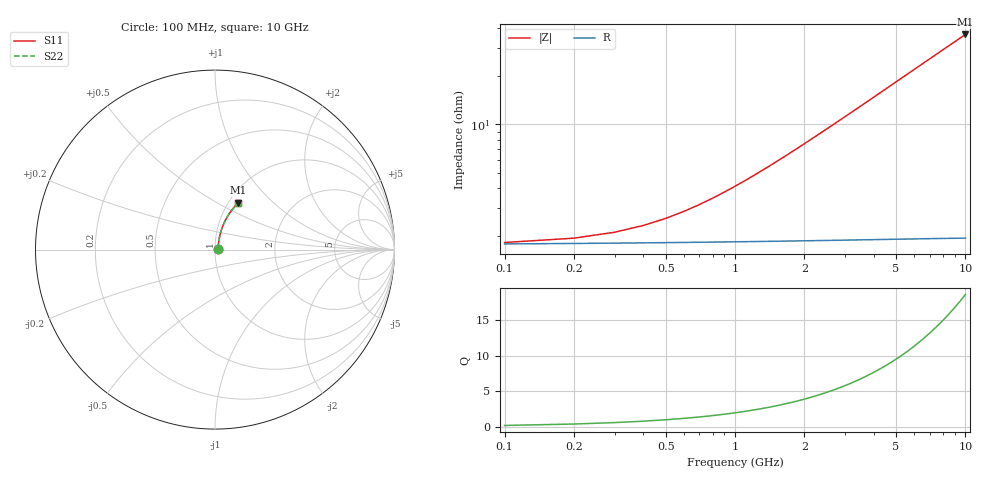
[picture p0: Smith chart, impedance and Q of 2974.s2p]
# Hz S RI R 50.00
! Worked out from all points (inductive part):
!   100 points, 100 MHz to 10 GHz, reference 50 ohm
!   read as one part in series: L = 583 pH near 1.6 GHz
!   highest Q = 18.6 at 10 GHz (marker M1), where L = 577 pH
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1e8  0.0176 0.00301  0.9824 -0.00406  0.9824 -0.00406  0.0176 0.00301
2e8  0.0178 0.00602  0.9822 -0.00812  0.9822 -0.00812  0.0178 0.00602
3e8  0.0179 0.00902  0.9821 -0.0122  0.9821 -0.0122  0.0179 0.00902
4e8  0.0181 0.012  0.9819 -0.0162  0.9819 -0.0162  0.0181 0.012
8e8  0.0189 0.024  0.9811 -0.0324  0.9811 -0.0324  0.0189 0.024
1.1e9  0.0197 0.033  0.9802 -0.0445  0.9802 -0.0445  0.0197 0.033
1.4e9  0.0207 0.042  0.9792 -0.0566  0.9792 -0.0566  0.0207 0.042
1.6e9  0.0215 0.0479  0.9783 -0.0647  0.9783 -0.0647  0.0215 0.0479
1.8e9  0.0224 0.0538  0.9774 -0.0727  0.9774 -0.0727  0.0224 0.0538
2.1e9  0.0239 0.0627  0.9758 -0.0847  0.9758 -0.0847  0.0239 0.0627
2.5e9  0.0262 0.0744  0.9734 -0.1007  0.9734 -0.1007  0.0262 0.0744
2.9e9  0.0289 0.086  0.9706 -0.1165  0.9706 -0.1165  0.0289 0.086
3.4e9  0.0328 0.1004  0.9665 -0.1361  0.9665 -0.1361  0.0328 0.1004
3.8e9  0.0364 0.1117  0.9628 -0.1517  0.9628 -0.1517  0.0364 0.1117
4.2e9  0.0403 0.1229  0.9587 -0.1671  0.9587 -0.1671  0.0403 0.1229
4.6e9  0.0445 0.134  0.9543 -0.1823  0.9543 -0.1823  0.0445 0.134
5.1e9  0.0503 0.1475  0.9482 -0.2011  0.9482 -0.2011  0.0503 0.1475
5.9e9  0.0606 0.1685  0.9374 -0.2305  0.9374 -0.2305  0.0606 0.1685
6.7e9  0.0721 0.1886  0.9253 -0.2592  0.9253 -0.2592  0.0721 0.1886
7.5e9  0.0848 0.2078  0.912 -0.2868  0.912 -0.2868  0.0848 0.2078
8.4e9  0.1003 0.2282  0.8957 -0.3168  0.8957 -0.3168  0.1003 0.2282
1e10  0.1307 0.261  0.8636 -0.3666  0.8636 -0.3666  0.1307 0.261
